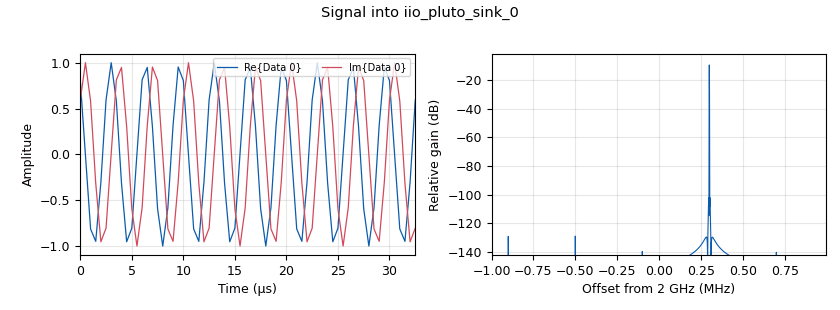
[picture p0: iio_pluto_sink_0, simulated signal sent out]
options:
  parameters:
    generate_options: qt_gui
    id: FilterTester
    output_language: python
    title: Filter Tester
  states: {}

blocks:
- name: Rx_gain
  id: variable_qtgui_range
  parameters:
    outputmsgname: value
    rangeType: int
    showports: 'False'
    start: '0'
    step: '1'
    stop: '100'
    value: '0'
  states: {}
- name: Tx_attn
  id: variable_qtgui_range
  parameters:
    outputmsgname: value
    rangeType: int
    showports: 'False'
    start: '0'
    step: '1'
    stop: '50'
    value: '43'
  states: {}
- name: samp_rate
  id: variable
  parameters:
    value: '1000000'
  states: {}
- name: analog_sig_source_x_0
  id: analog_sig_source_x
  parameters:
    amp: '1'
    freq: '150000'
    offset: '0'
    phase: '0'
    samp_rate: samp_rate
    type: complex
    waveform: analog.GR_COS_WAVE
  states: {}
- name: iio_pluto_sink_0
  id: iio_pluto_sink
  parameters:
    attenuation1: Tx_attn
    bandwidth: '20000000'
    buffer_size: '32768'
    cyclic: 'False'
    filter_source: '''Auto'''
    frequency: '2000000000'
    samplerate: '2000000'
    type: fc32
  states: {}
- name: iio_pluto_source_0
  id: iio_pluto_source
  parameters:
    bandwidth: '20000000'
    bbdc: 'True'
    buffer_size: '32768'
    filter_source: '''Auto'''
    fpass: '100000'
    frequency: '2000000000'
    fstop: '200000'
    gain1: '''manual'''
    manual_gain1: Rx_gain
    quadrature: 'True'
    rfdc: 'True'
    samplerate: '2000000'
    type: fc32
  states: {}
- name: qtgui_freq_sink_x_0_0
  id: qtgui_freq_sink_x
  parameters:
    autoscale: 'True'
    average: '0.05'
    bw: samp_rate
    color1: '"yellow"'
    fc: '0'
    fftsize: '4096'
    grid: 'True'
    label1: Received
    type: complex
    update_time: '0.05'
    width1: '4'
    ymax: '0'
    ymin: '-60'
  states: {}

connections:
- [analog_sig_source_x_0, '0', iio_pluto_sink_0, '0']
- [iio_pluto_source_0, '0', qtgui_freq_sink_x_0_0, '0']

metadata:
  file_format: 1
  grc_version: 3.10.4.0
